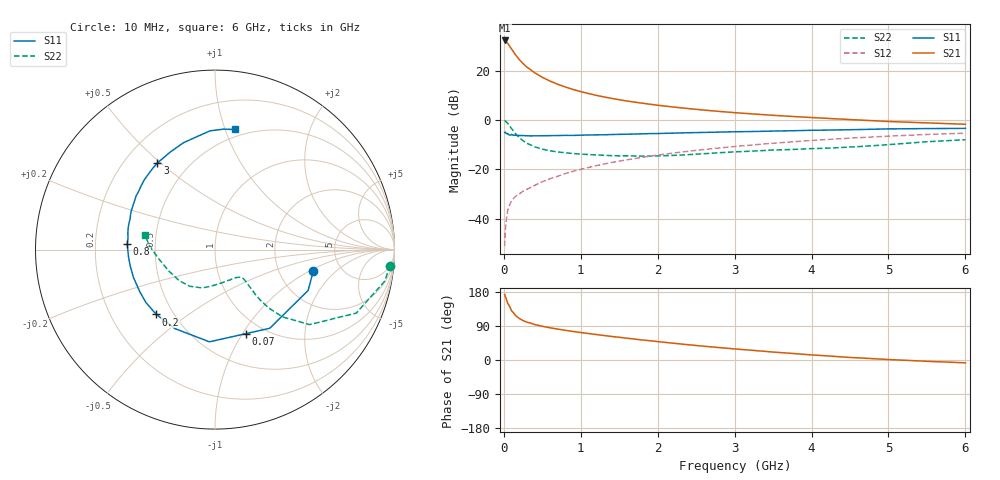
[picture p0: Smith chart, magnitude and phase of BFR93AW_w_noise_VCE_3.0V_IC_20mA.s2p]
! Infineon Technologies  Discrete & RF Semiconductors
! BFR93AW
! VCE =  3.0 V,  IC =  20 mA
! Common Emitter S-Parameters:  Jan 2017
# GHz  S  MA  R  50
!  f  S11  S21  S12  S22
! GHz  MAG  ANG  MAG  ANG  MAG  ANG  MAG  ANG
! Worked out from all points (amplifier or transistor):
!   77 points, 10 MHz to 6 GHz, reference 50 ohm
!   highest |S21| = 32.2 dB at 10 MHz (marker M1)
!   |S21| within 3 dB of that: start of sweep to 89.41 MHz
!   unconditionally stable (mu >= 1): 625.2 MHz to 2.125 GHz
!   at 130 MHz: K = 0.46, MSG = 29.5 dB, |S12| = -31.6 dB
!   at 2.2 GHz: K = 0.99, MSG = 9.3 dB, |S12| = -13.4 dB
!   at 6 GHz: K = 0.89, MSG = 1.8 dB, |S12| = -5.3 dB
!   lowest NFmin = 1.52 dB at 450 MHz
!   S11 on the Smith chart (normalised r, x): 10 MHz: 3.15, -1.07; 70 MHz: 0.83, -1.03; 200 MHz: 0.40, -0.38; 800 MHz: 0.34, +0.03; 3 GHz: 0.34, +0.49; 6 GHz: 0.44, +1.08
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0.01  0.5608 -12.0  40.84 173.3  0.0028 77.1  0.9808 -5.2
0.02  0.5666 -23.7  40.42 167.1  0.0062 83.8  0.9611 -10.6
0.05  0.534 -55.2  35.93 149.8  0.0147 69.6  0.8631 -24.2
0.07  0.4987 -70.0  32.1 143.1  0.018 64.8  0.7815 -29.0
0.1  0.5147 -93.4  27.45 129.8  0.0232 60.3  0.6726 -38.4
0.15  0.4935 -116.8  21.07 117.7  0.0284 55.8  0.5318 -44.9
0.2  0.4873 -132.2  16.79 109.8  0.0318 55.9  0.4408 -47.4
0.25  0.4848 -142.6  13.89 104.0  0.0364 57.4  0.3812 -48.1
0.3  0.4803 -150.4  11.77 99.9  0.0396 57.8  0.3383 -48.1
0.4  0.4799 -161.1  9.06 93.6  0.0476 61.0  0.2878 -47.1
0.5  0.4809 -168.8  7.318 89.0  0.0564 63.5  0.2576 -46.3
0.6  0.4833 -174.6  6.158 85.0  0.0648 65.1  0.2389 -45.8
0.7  0.4854 -179.3  5.301 81.6  0.0729 66.4  0.226 -45.8
0.8  0.49 176.5  4.667 78.3  0.0827 67.2  0.2176 -46.5
1.1  0.4984 166.1  3.444 69.9  0.1097 67.8  0.2007 -50.6
1.5  0.5139 155.2  2.575 59.9  0.1475 66.8  0.1886 -60.2
2.1  0.5384 141.2  1.914 46.5  0.2048 62.9  0.1901 -81.0
3  0.5795 123.6  1.411 29.1  0.2913 55.2  0.227 -110.8
3.1  0.582 121.8  1.376 27.6  0.3007 54.1  0.2301 -113.7
4.1  0.6231 105.0  1.103 12.2  0.3946 43.8  0.2664 -142.6
5.1  0.6639 91.0  0.923 0.3  0.4793 32.5  0.3266 -173.7
6  0.6787 80.4  0.821 -7.5  0.5434 22.3  0.4 167.9
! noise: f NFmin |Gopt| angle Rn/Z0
0.45  1.52  0.14  161  0.15
0.9  1.8  0.23  175  0.15
1.9  2.8  0.48  -138  0.23
2.4  3.43  0.54  -126  0.45
